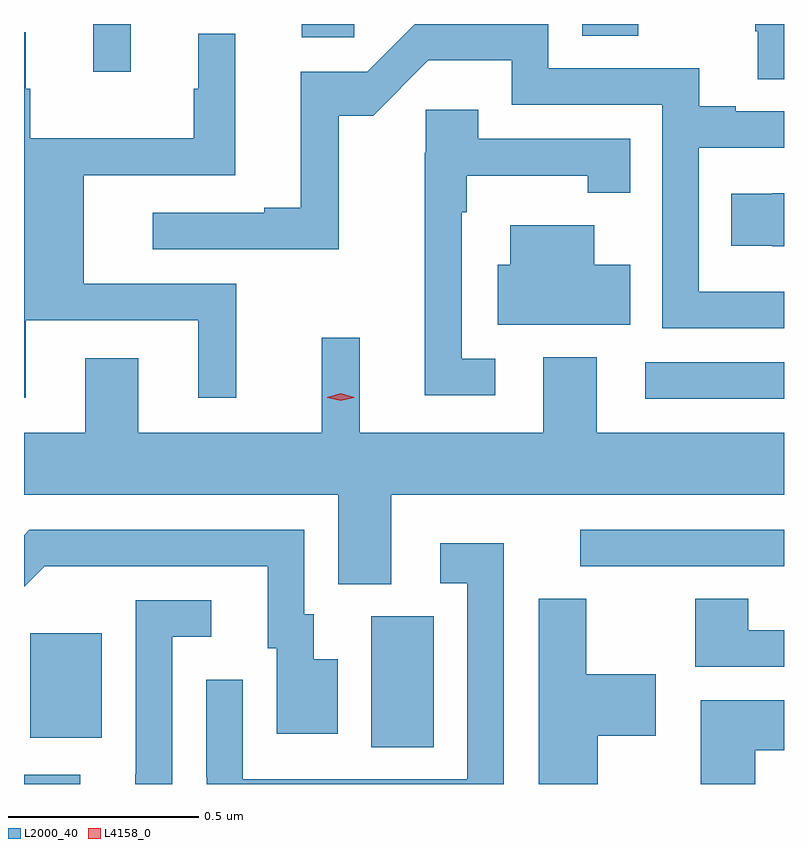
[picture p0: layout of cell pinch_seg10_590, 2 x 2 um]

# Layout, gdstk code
import gdstk
lib = gdstk.Library(unit=1e-6, precision=1e-09)
def R(c, l, rs):  # rectangles x0, y0, x1, y1
    for r in rs: c.add(gdstk.rectangle(r[:2], r[2:], *l))
def P(c, l, *ps):  # polygons
    for p in ps: c.add(gdstk.Polygon(p, *l))
L2000_40 = (2000, 40)
L4158_0 = (4158, 0)

pinch_seg10_590 = lib.new_cell('pinch_seg10_590')
R(pinch_seg10_590, L2000_40, [(322.29,1255.599,322.438,1255.623), (323.204,1255.696,323.368,1256.04), (322.307,1255.721,322.495,1255.996), (323.754,1256.172,324.29,1256.268), (323.925,1256.613,324.29,1256.709), (322.472,1257.474,322.571,1257.599), (323.021,1257.564,323.159,1257.599), (323.759,1257.568,323.907,1257.599)])
P(pinch_seg10_590, L2000_40, [(324.29,1256.895),(324.066,1256.895),(324.066,1257.273),(324.29,1257.273),(324.29,1257.369),(324.163,1257.369),(324.163,1257.382),(324.067,1257.382),(324.067,1257.483),(323.67,1257.483),(323.67,1257.599),(323.318,1257.599),(323.193,1257.474),(323.018,1257.474),(323.018,1257.115),(322.922,1257.115),(322.922,1257.102),(322.629,1257.102),(322.629,1257.006),(323.118,1257.006),(323.118,1257.358),(323.209,1257.358),(323.354,1257.503),(323.574,1257.503),(323.574,1257.387),(323.97,1257.387),(323.97,1256.799),(324.29,1256.799)],
  [(324.29,1257.599),(324.214,1257.599),(324.214,1257.58),(324.221,1257.58),(324.221,1257.454),(324.29,1257.454)],
  [(322.294,1256.82),(322.748,1256.82),(322.748,1256.616),(322.848,1256.616),(322.848,1256.916),(322.447,1256.916),(322.447,1257.201),(322.846,1257.201),(322.846,1257.574),(322.748,1257.574),(322.748,1257.428),(322.737,1257.428),(322.737,1257.298),(322.306,1257.298),(322.306,1257.429),(322.295,1257.429),(322.295,1257.577),(322.29,1257.577),(322.29,1256.616),(322.294,1256.616)],
  [(323.53,1256.718),(323.442,1256.718),(323.442,1257.104),(323.455,1257.104),(323.455,1257.2),(323.774,1257.2),(323.774,1257.155),(323.885,1257.155),(323.885,1257.297),(323.485,1257.297),(323.485,1257.373),(323.347,1257.373),(323.347,1257.26),(323.344,1257.26),(323.344,1256.622),(323.53,1256.622)],
  [(324.29,1257.154),(324.259,1257.154),(324.259,1257.152),(324.151,1257.152),(324.151,1257.016),(324.259,1257.016),(324.259,1257.014),(324.29,1257.014)],
  [(323.885,1256.965),(323.791,1256.965),(323.791,1257.07),(323.57,1257.07),(323.57,1256.965),(323.537,1256.965),(323.537,1256.807),(323.885,1256.807)],
  [(323.257,1256.36),(324.29,1256.36),(324.29,1256.524),(323.797,1256.524),(323.797,1256.722),(323.657,1256.722),(323.657,1256.524),(323.173,1256.524),(323.173,1256.773),(323.074,1256.773),(323.074,1256.524),(322.591,1256.524),(322.591,1256.719),(322.451,1256.719),(322.451,1256.524),(322.29,1256.524),(322.29,1256.36),(323.117,1256.36),(323.117,1256.125),(323.257,1256.125)],
  [(323.116,1255.927),(323.053,1255.927),(323.053,1256.046),(323.028,1256.046),(323.028,1256.268),(322.304,1256.268),(322.29,1256.254),(322.29,1256.118),(322.344,1256.172),(322.931,1256.172),(322.931,1255.956),(322.955,1255.956),(322.955,1255.731),(323.116,1255.731)],
  [(323.553,1256.233),(323.385,1256.233),(323.385,1256.127),(323.457,1256.127),(323.457,1255.611),(322.866,1255.611),(322.866,1255.873),(322.77,1255.873),(322.77,1255.618),(322.771,1255.618),(322.771,1255.599),(323.553,1255.599)],
  [(324.29,1256.004),(324.196,1256.004),(324.196,1256.087),(324.056,1256.087),(324.056,1255.908),(324.29,1255.908)],
  [(323.8,1255.726),(323.953,1255.726),(323.953,1255.888),(323.77,1255.888),(323.77,1256.086),(323.645,1256.086),(323.645,1255.599),(323.8,1255.599)],
  [(322.68,1255.986),(322.783,1255.986),(322.783,1256.082),(322.584,1256.082),(322.584,1255.625),(322.583,1255.625),(322.583,1255.599),(322.68,1255.599)],
  [(324.214,1255.688),(324.29,1255.688),(324.29,1255.819),(324.071,1255.819),(324.071,1255.599),(324.214,1255.599)])
P(pinch_seg10_590, L4158_0, [(323.123,1256.607),(323.088,1256.616),(323.088,1256.617),(323.088,1256.617),(323.123,1256.627),(323.159,1256.617),(323.159,1256.617),(323.159,1256.616)])

lib.write_gds('pinch_seg10_590.gds')
